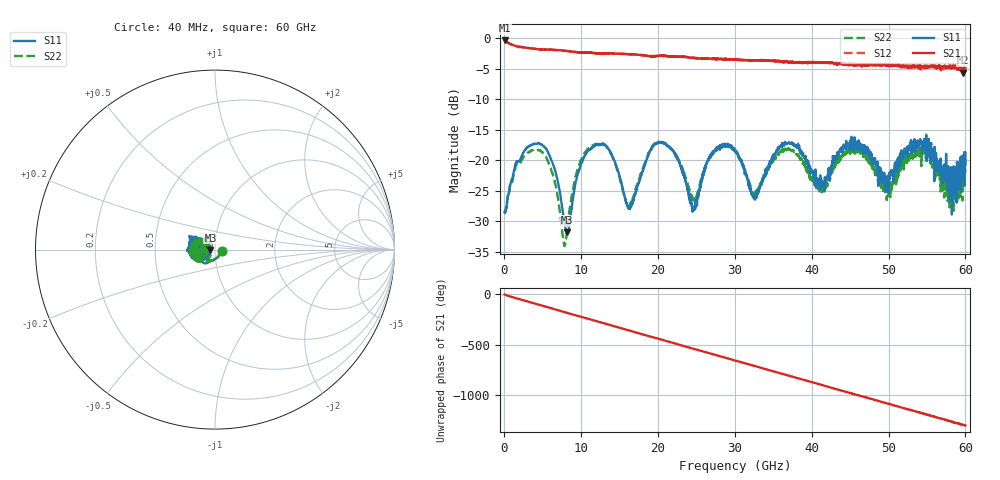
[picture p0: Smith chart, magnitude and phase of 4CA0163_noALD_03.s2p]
! File created by 'SoftPlot +Plus+ Measurement Management Software'
! SoftPlot +Plus+ Measurement Management Software
! Start 40.000000 MHz  Stop 60.000000 GHz  Points 1601
# MHZ S RI R 50
! S-Parameter data, F S11 S21 S12 S22
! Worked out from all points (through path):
!   1601 points, 40 MHz to 60 GHz, reference 50 ohm
!   highest |S21| = -0.36 dB at 40 MHz (marker M1); lowest = -5.6 dB at 59.63 GHz (marker M2)
!   group delay of S21, straight-line fit = 60.1 ps
!   lowest |S11| = -31.8 dB at 8.172 GHz (marker M3), VSWR 1.05, Z = 47.5 - j0.143 ohm
!   |S11| at or under -10 dB: start of sweep to end of sweep
!   |S22| runs from -34.1 to -17.0 dB; largest |S21 - S12| = 0.067
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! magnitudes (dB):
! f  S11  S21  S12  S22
! 40 MHz  -28.5  -0.4  -0.4  -28.3
! 1.576 GHz  -20.3  -1.3  -1.3  -20.7
! 4.649 GHz  -17.3  -1.8  -1.8  -18.4
! 6.523 GHz  -21.2  -1.9  -1.9  -23.3
! 7.685 GHz  -29.1  -2.0  -2.0  -33.2
! 8.172 GHz  -31.8  -2.1  -2.1  -31.3
! 10.05 GHz  -20.5  -2.4  -2.3  -19.8
! 13.16 GHz  -17.5  -2.5  -2.5  -17.6
! 16.3 GHz  -28.0  -2.6  -2.6  -27.4
! 20.05 GHz  -17.2  -2.9  -2.9  -17.0
! 24.62 GHz  -28.3  -3.2  -3.2  -26.5
! 26.98 GHz  -18.8  -3.4  -3.3  -19.1
! 30.02 GHz  -18.4  -3.5  -3.4  -18.6
! 32.53 GHz  -26.3  -3.6  -3.6  -26.1
! 36.28 GHz  -17.6  -3.8  -3.8  -18.2
! 40.03 GHz  -22.0  -3.9  -4.0  -23.1
! 45.98 GHz  -17.7  -4.4  -4.3  -18.7
! 50.03 GHz  -24.0  -4.4  -4.3  -25.9
! 53.52 GHz  -17.0  -4.6  -4.7  -18.2
! 57.83 GHz  -21.3  -4.7  -4.8  -24.9
! 59.63 GHz  -20.5  -5.6  -5.2  -26.6
! 60 GHz  -20.6  -5.1  -4.9  -20.3
